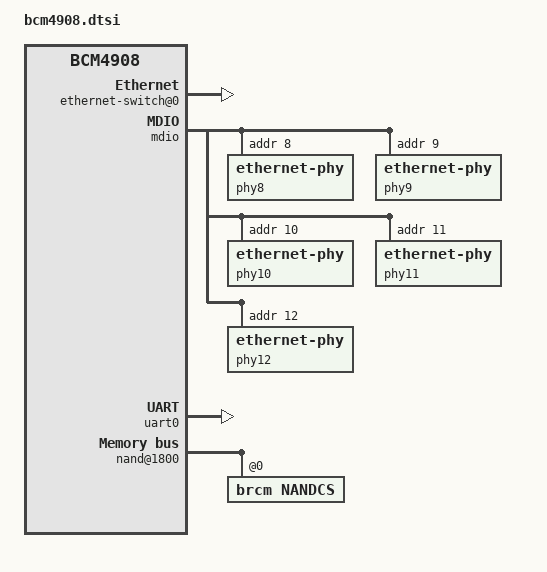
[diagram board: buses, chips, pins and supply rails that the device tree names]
// SPDX-License-Identifier: GPL-2.0-or-later OR MIT

#include <dt-bindings/interrupt-controller/irq.h>
#include <dt-bindings/interrupt-controller/arm-gic.h>

/dts-v1/;

/ {
	interrupt-parent = <&gic>;

	#address-cells = <2>;
	#size-cells = <2>;

	aliases {
		serial0 = &uart0;
	};

	chosen {
		stdout-path = "serial0:115200n8";
	};

	cpus {
		#address-cells = <1>;
		#size-cells = <0>;

		cpu0: cpu@0 {
			device_type = "cpu";
			compatible = "brcm,brahma-b53";
			reg = <0x0>;
			next-level-cache = <&l2>;
		};

		cpu1: cpu@1 {
			device_type = "cpu";
			compatible = "brcm,brahma-b53";
			reg = <0x1>;
			enable-method = "spin-table";
			cpu-release-addr = <0x0 0xfff8>;
			next-level-cache = <&l2>;
		};

		cpu2: cpu@2 {
			device_type = "cpu";
			compatible = "brcm,brahma-b53";
			reg = <0x2>;
			enable-method = "spin-table";
			cpu-release-addr = <0x0 0xfff8>;
			next-level-cache = <&l2>;
		};

		cpu3: cpu@3 {
			device_type = "cpu";
			compatible = "brcm,brahma-b53";
			reg = <0x3>;
			enable-method = "spin-table";
			cpu-release-addr = <0x0 0xfff8>;
			next-level-cache = <&l2>;
		};

		l2: l2-cache0 {
			compatible = "cache";
		};
	};

	axi@81000000 {
		compatible = "simple-bus";
		#address-cells = <1>;
		#size-cells = <1>;
		ranges = <0x00 0x00 0x81000000 0x4000>;

		gic: interrupt-controller@1000 {
			compatible = "arm,gic-400";
			#interrupt-cells = <3>;
			#address-cells = <0>;
			interrupt-controller;
			reg = <0x1000 0x1000>,
			      <0x2000 0x2000>;
		};
	};

	timer {
		compatible = "arm,armv8-timer";
		interrupts = <GIC_PPI 13 (GIC_CPU_MASK_SIMPLE(4) | IRQ_TYPE_LEVEL_LOW)>,
			     <GIC_PPI 14 (GIC_CPU_MASK_SIMPLE(4) | IRQ_TYPE_LEVEL_LOW)>,
			     <GIC_PPI 11 (GIC_CPU_MASK_SIMPLE(4) | IRQ_TYPE_LEVEL_LOW)>,
			     <GIC_PPI 10 (GIC_CPU_MASK_SIMPLE(4) | IRQ_TYPE_LEVEL_LOW)>;
	};

	pmu {
		compatible = "arm,cortex-a53-pmu";
		interrupts = <GIC_SPI 9 IRQ_TYPE_LEVEL_HIGH>,
			     <GIC_SPI 10 IRQ_TYPE_LEVEL_HIGH>,
			     <GIC_SPI 11 IRQ_TYPE_LEVEL_HIGH>,
			     <GIC_SPI 12 IRQ_TYPE_LEVEL_HIGH>;
		interrupt-affinity = <&cpu0>, <&cpu1>, <&cpu2>, <&cpu3>;
	};

	clocks {
		periph_clk: periph_clk {
			compatible = "fixed-clock";
			#clock-cells = <0>;
			clock-frequency = <50000000>;
			clock-output-names = "periph";
		};
	};

	soc {
		compatible = "simple-bus";
		#address-cells = <1>;
		#size-cells = <1>;
		ranges = <0x00 0x00 0x80000000 0x281000>;

		usb@c300 {
			compatible = "generic-ehci";
			reg = <0xc300 0x100>;
			interrupts = <GIC_SPI 73 IRQ_TYPE_LEVEL_HIGH>;
			status = "disabled";
		};

		usb@c400 {
			compatible = "generic-ohci";
			reg = <0xc400 0x100>;
			interrupts = <GIC_SPI 72 IRQ_TYPE_LEVEL_HIGH>;
			status = "disabled";
		};

		usb@d000 {
			compatible = "generic-xhci";
			reg = <0xd000 0x8c8>;
			interrupts = <GIC_SPI 74 IRQ_TYPE_LEVEL_HIGH>;
			status = "disabled";
		};

		ethernet-switch@80000 {
			compatible = "simple-bus";
			#size-cells = <1>;
			#address-cells = <1>;
			ranges = <0 0x80000 0x50000>;

			ethernet-switch@0 {
				compatible = "brcm,bcm4908-switch";
				reg = <0x0 0x40000>,
				      <0x40000 0x110>,
				      <0x40340 0x30>,
				      <0x40380 0x30>,
				      <0x40600 0x34>,
				      <0x40800 0x208>;
				reg-names = "core", "reg", "intrl2_0",
					    "intrl2_1", "fcb", "acb";
				interrupts = <GIC_SPI 57 IRQ_TYPE_LEVEL_HIGH>,
					     <GIC_SPI 58 IRQ_TYPE_LEVEL_HIGH>;
				brcm,num-gphy = <5>;
				brcm,num-rgmii-ports = <2>;

				#address-cells = <1>;
				#size-cells = <0>;

				ports: ports {
					#address-cells = <1>;
					#size-cells = <0>;

					port@0 {
						reg = <0>;
						phy-mode = "internal";
						phy-handle = <&phy8>;
					};

					port@1 {
						reg = <1>;
						phy-mode = "internal";
						phy-handle = <&phy9>;
					};

					port@2 {
						reg = <2>;
						phy-mode = "internal";
						phy-handle = <&phy10>;
					};

					port@3 {
						reg = <3>;
						phy-mode = "internal";
						phy-handle = <&phy11>;
					};
				};
			};

			mdio: mdio@405c0 {
				compatible = "brcm,unimac-mdio";
				reg = <0x405c0 0x8>;
				reg-names = "mdio";
				#size-cells = <0>;
				#address-cells = <1>;

				phy8: ethernet-phy@8 {
					reg = <8>;
				};

				phy9: ethernet-phy@9 {
					reg = <9>;
				};

				phy10: ethernet-phy@a {
					reg = <10>;
				};

				phy11: ethernet-phy@b {
					reg = <11>;
				};

				phy12: ethernet-phy@c {
					reg = <12>;
				};
			};
		};

		procmon: syscon@280000 {
			compatible = "simple-bus";
			reg = <0x280000 0x1000>;
			ranges;

			#address-cells = <1>;
			#size-cells = <1>;

			power-controller@2800c0 {
				compatible = "brcm,bcm4908-pmb";
				reg = <0x2800c0 0x40>;
				#power-domain-cells = <1>;
			};
		};
	};

	bus@ff800000 {
		compatible = "simple-bus";
		#address-cells = <1>;
		#size-cells = <1>;
		ranges = <0x00 0x00 0xff800000 0x3000>;

		timer: timer@400 {
			compatible = "brcm,bcm6328-timer", "syscon";
			reg = <0x400 0x3c>;
		};

		gpio0: gpio-controller@500 {
			compatible = "brcm,bcm6345-gpio";
			reg-names = "dirout", "dat";
			reg = <0x500 0x28>, <0x528 0x28>;

			#gpio-cells = <2>;
			gpio-controller;
		};

		uart0: serial@640 {
			compatible = "brcm,bcm6345-uart";
			reg = <0x640 0x18>;
			interrupts = <GIC_SPI 32 IRQ_TYPE_LEVEL_HIGH>;
			clocks = <&periph_clk>;
			clock-names = "periph";
			status = "okay";
		};

		nand@1800 {
			#address-cells = <1>;
			#size-cells = <0>;
			compatible = "brcm,nand-bcm63138", "brcm,brcmnand-v7.1", "brcm,brcmnand";
			reg = <0x1800 0x600>, <0x2000 0x10>;
			reg-names = "nand", "nand-int-base";
			interrupts = <GIC_SPI 37 IRQ_TYPE_LEVEL_HIGH>;
			interrupt-names = "nand";
			status = "okay";

			nandcs: nandcs@0 {
				compatible = "brcm,nandcs";
				reg = <0>;
			};
		};

		misc@2600 {
			compatible = "brcm,misc", "simple-mfd";
			reg = <0x2600 0xe4>;

			#address-cells = <1>;
			#size-cells = <1>;
			ranges = <0x00 0x2600 0xe4>;

			reset-controller@2644 {
				compatible = "brcm,bcm4908-misc-pcie-reset";
				reg = <0x44 0x04>;
				#reset-cells = <1>;
			};
		};

		reboot {
			compatible = "syscon-reboot";
			regmap = <&timer>;
			offset = <0x34>;
			mask = <1>;
		};
	};
};
